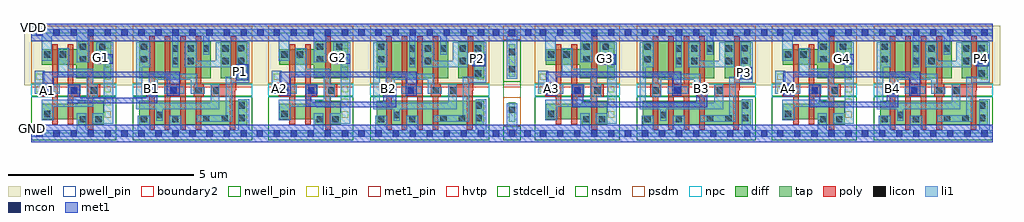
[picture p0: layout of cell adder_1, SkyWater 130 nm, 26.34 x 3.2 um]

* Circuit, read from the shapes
.subckt adder_1 A1 A2 A3 A4 B1 B2 B3 B4 G1 G2 G3 G4 GND P1 P2 P3 P4 VDD
XM1 n1 A1 n2 GND sky130_fd_pr__nfet_01v8 w=0.42 l=0.15
XM2 GND B1 n1 GND sky130_fd_pr__nfet_01v8 w=0.42 l=0.15
XM3 G1 n2 GND GND sky130_fd_pr__nfet_01v8 w=0.65 l=0.15
XM4 n3 B1 GND GND sky130_fd_pr__nfet_01v8 w=0.65 l=0.15
XM5 GND A1 n3 GND sky130_fd_pr__nfet_01v8 w=0.65 l=0.15
XM6 n4 A1 GND GND sky130_fd_pr__nfet_01v8 w=0.65 l=0.15
XM7 P1 B1 n4 GND sky130_fd_pr__nfet_01v8 w=0.65 l=0.15
XM8 GND n3 P1 GND sky130_fd_pr__nfet_01v8 w=0.65 l=0.15
XM9 n5 A2 n6 GND sky130_fd_pr__nfet_01v8 w=0.42 l=0.15
XM10 GND B2 n5 GND sky130_fd_pr__nfet_01v8 w=0.42 l=0.15
XM11 G2 n6 GND GND sky130_fd_pr__nfet_01v8 w=0.65 l=0.15
XM12 n7 B2 GND GND sky130_fd_pr__nfet_01v8 w=0.65 l=0.15
XM13 GND A2 n7 GND sky130_fd_pr__nfet_01v8 w=0.65 l=0.15
XM14 n8 A2 GND GND sky130_fd_pr__nfet_01v8 w=0.65 l=0.15
XM15 P2 B2 n8 GND sky130_fd_pr__nfet_01v8 w=0.65 l=0.15
XM16 GND n7 P2 GND sky130_fd_pr__nfet_01v8 w=0.65 l=0.15
XM17 n9 A3 n10 GND sky130_fd_pr__nfet_01v8 w=0.42 l=0.15
XM18 GND B3 n9 GND sky130_fd_pr__nfet_01v8 w=0.42 l=0.15
XM19 G3 n10 GND GND sky130_fd_pr__nfet_01v8 w=0.65 l=0.15
XM20 n11 B3 GND GND sky130_fd_pr__nfet_01v8 w=0.65 l=0.15
XM21 GND A3 n11 GND sky130_fd_pr__nfet_01v8 w=0.65 l=0.15
XM22 n12 A3 GND GND sky130_fd_pr__nfet_01v8 w=0.65 l=0.15
XM23 P3 B3 n12 GND sky130_fd_pr__nfet_01v8 w=0.65 l=0.15
XM24 GND n11 P3 GND sky130_fd_pr__nfet_01v8 w=0.65 l=0.15
XM25 n13 A4 n14 GND sky130_fd_pr__nfet_01v8 w=0.42 l=0.15
XM26 GND B4 n13 GND sky130_fd_pr__nfet_01v8 w=0.42 l=0.15
XM27 G4 n14 GND GND sky130_fd_pr__nfet_01v8 w=0.65 l=0.15
XM28 n15 B4 GND GND sky130_fd_pr__nfet_01v8 w=0.65 l=0.15
XM29 GND A4 n15 GND sky130_fd_pr__nfet_01v8 w=0.65 l=0.15
XM30 n16 A4 GND GND sky130_fd_pr__nfet_01v8 w=0.65 l=0.15
XM31 P4 B4 n16 GND sky130_fd_pr__nfet_01v8 w=0.65 l=0.15
XM32 GND n15 P4 GND sky130_fd_pr__nfet_01v8 w=0.65 l=0.15
XM33 n2 A1 VDD VDD sky130_fd_pr__pfet_01v8_hvt w=0.42 l=0.15
XM34 VDD B1 n2 VDD sky130_fd_pr__pfet_01v8_hvt w=0.42 l=0.15
XM35 G1 n2 VDD VDD sky130_fd_pr__pfet_01v8_hvt w=1 l=0.15
XM36 n17 B1 n3 VDD sky130_fd_pr__pfet_01v8_hvt w=1 l=0.15
XM37 VDD A1 n17 VDD sky130_fd_pr__pfet_01v8_hvt w=1 l=0.15
XM38 n18 A1 VDD VDD sky130_fd_pr__pfet_01v8_hvt w=1 l=0.15
XM39 VDD B1 n18 VDD sky130_fd_pr__pfet_01v8_hvt w=1 l=0.15
XM40 P1 n3 n18 VDD sky130_fd_pr__pfet_01v8_hvt w=1 l=0.15
XM41 n6 A2 VDD VDD sky130_fd_pr__pfet_01v8_hvt w=0.42 l=0.15
XM42 VDD B2 n6 VDD sky130_fd_pr__pfet_01v8_hvt w=0.42 l=0.15
XM43 G2 n6 VDD VDD sky130_fd_pr__pfet_01v8_hvt w=1 l=0.15
XM44 n19 B2 n7 VDD sky130_fd_pr__pfet_01v8_hvt w=1 l=0.15
XM45 VDD A2 n19 VDD sky130_fd_pr__pfet_01v8_hvt w=1 l=0.15
XM46 n20 A2 VDD VDD sky130_fd_pr__pfet_01v8_hvt w=1 l=0.15
XM47 VDD B2 n20 VDD sky130_fd_pr__pfet_01v8_hvt w=1 l=0.15
XM48 P2 n7 n20 VDD sky130_fd_pr__pfet_01v8_hvt w=1 l=0.15
XM49 n10 A3 VDD VDD sky130_fd_pr__pfet_01v8_hvt w=0.42 l=0.15
XM50 VDD B3 n10 VDD sky130_fd_pr__pfet_01v8_hvt w=0.42 l=0.15
XM51 G3 n10 VDD VDD sky130_fd_pr__pfet_01v8_hvt w=1 l=0.15
XM52 n21 B3 n11 VDD sky130_fd_pr__pfet_01v8_hvt w=1 l=0.15
XM53 VDD A3 n21 VDD sky130_fd_pr__pfet_01v8_hvt w=1 l=0.15
XM54 n22 A3 VDD VDD sky130_fd_pr__pfet_01v8_hvt w=1 l=0.15
XM55 VDD B3 n22 VDD sky130_fd_pr__pfet_01v8_hvt w=1 l=0.15
XM56 P3 n11 n22 VDD sky130_fd_pr__pfet_01v8_hvt w=1 l=0.15
XM57 n14 A4 VDD VDD sky130_fd_pr__pfet_01v8_hvt w=0.42 l=0.15
XM58 VDD B4 n14 VDD sky130_fd_pr__pfet_01v8_hvt w=0.42 l=0.15
XM59 G4 n14 VDD VDD sky130_fd_pr__pfet_01v8_hvt w=1 l=0.15
XM60 n23 B4 n15 VDD sky130_fd_pr__pfet_01v8_hvt w=1 l=0.15
XM61 VDD A4 n23 VDD sky130_fd_pr__pfet_01v8_hvt w=1 l=0.15
XM62 n24 A4 VDD VDD sky130_fd_pr__pfet_01v8_hvt w=1 l=0.15
XM63 VDD B4 n24 VDD sky130_fd_pr__pfet_01v8_hvt w=1 l=0.15
XM64 P4 n15 n24 VDD sky130_fd_pr__pfet_01v8_hvt w=1 l=0.15
.ends

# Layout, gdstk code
import gdstk
lib = gdstk.Library(unit=1e-6, precision=1e-09)
def R(c, l, rs):  # rectangles x0, y0, x1, y1
    for r in rs: c.add(gdstk.rectangle(r[:2], r[2:], *l))
def A(c, l, x, y, w, h, nx, ny, dx, dy):  # array of equal rectangles
    R(c, l, [(x+i*dx, y+j*dy, x+i*dx+w, y+j*dy+h) for i in range(nx) for j in range(ny)])
def P(c, l, *ps):  # polygons
    for p in ps: c.add(gdstk.Polygon(p, *l))
nwell_pin = (64, 16)
nwell = (64, 20)
diff = (65, 20)
tap = (65, 44)
poly = (66, 20)
licon = (66, 44)
li1_pin = (67, 16)
li1 = (67, 20)
mcon = (67, 44)
met1_pin = (68, 16)
met1 = (68, 20)
hvtp = (78, 44)
stdcell_id = (81, 4)
nsdm = (93, 44)
psdm = (94, 20)
npc = (95, 20)
pwell_pin = (122, 16)
boundary2 = (236, 0)

sky130_fd_sc_hd__xor2_1 = lib.new_cell('sky130_fd_sc_hd__xor2_1')
R(sky130_fd_sc_hd__xor2_1, nwell_pin, [(0.145,2.635,0.315,2.805)])
R(sky130_fd_sc_hd__xor2_1, nwell, [(-0.19,1.305,3.41,2.91)])
R(sky130_fd_sc_hd__xor2_1, diff, [(0.175,0.235,3.085,0.885), (0.175,1.485,2.105,2.485), (2.375,1.485,3.085,2.485)])
P(sky130_fd_sc_hd__xor2_1, poly, [(0.645,1.325),(0.585,1.325),(0.585,2.615),(0.435,2.615),(0.435,1.325),(0.375,1.325),(0.375,0.995),(0.435,0.995),(0.435,0.105),(0.585,0.105),(0.585,0.995),(0.645,0.995)],
  [(1.425,2.615),(1.275,2.615),(1.275,1.325),(1.005,1.325),(1.005,2.615),(0.855,2.615),(0.855,0.105),(1.005,0.105),(1.005,0.995),(1.275,0.995),(1.275,0.105),(1.425,0.105)],
  [(1.905,1.325),(1.845,1.325),(1.845,2.615),(1.695,2.615),(1.695,1.325),(1.635,1.325),(1.635,0.995),(1.695,0.995),(1.695,0.105),(1.845,0.105),(1.845,0.995),(1.905,0.995)],
  [(2.765,1.16),(2.785,1.16),(2.785,2.615),(2.635,2.615),(2.635,1.325),(2.115,1.325),(2.115,0.995),(2.615,0.995),(2.615,0.105),(2.765,0.105)])
A(sky130_fd_sc_hd__xor2_1, licon, 2.835, 1.535, 0.17, 0.17, 1, 3, 0, 0.34)
A(sky130_fd_sc_hd__xor2_1, licon, 1.055, 2.205, 0.17, 0.17, 3, 1, 0.42, 0)
R(sky130_fd_sc_hd__xor2_1, licon, [(0.215,0.305,0.385,0.475), (1.055,0.305,1.225,0.475), (1.895,0.315,2.065,0.485), (2.395,0.315,2.565,0.485), (2.845,0.33,3.015,0.5), (0.635,0.415,0.805,0.585), (2.845,0.67,3.015,0.84), (0.425,1.075,0.595,1.245), (1.01,1.075,1.18,1.245), (1.685,1.075,1.855,1.245), (2.165,1.075,2.335,1.245), (1.055,1.865,1.225,2.035), (1.475,1.865,1.645,2.035), (2.415,1.865,2.585,2.035), (0.215,1.915,0.385,2.085), (2.415,2.205,2.585,2.375), (0.215,2.255,0.385,2.425)])
R(sky130_fd_sc_hd__xor2_1, li1_pin, [(1.065,1.105,1.235,1.275), (0.605,1.445,0.775,1.615), (2.905,1.445,3.075,1.615)])
R(sky130_fd_sc_hd__xor2_1, li1, [(0.84,1.075,1.39,1.275)])
P(sky130_fd_sc_hd__xor2_1, li1, [(1.935,1.245),(1.73,1.245),(1.73,1.615),(0.425,1.615),(0.425,0.995),(0.67,0.995),(0.67,1.445),(1.56,1.445),(1.56,1.075),(1.935,1.075)],
  [(2.335,1.325),(2.105,1.325),(2.105,0.825),(0.255,0.825),(0.255,1.785),(0.465,1.785),(0.465,2.465),(0.085,2.465),(0.085,0.655),(0.635,0.655),(0.635,0.335),(0.805,0.335),(0.805,0.655),(2.335,0.655)],
  [(2.635,2.465),(2.235,2.465),(2.235,1.955),(1.725,1.955),(1.725,2.465),(1.395,2.465),(1.395,1.785),(2.635,1.785)],
  [(3.135,2.465),(2.815,2.465),(2.815,1.535),(2.505,1.535),(2.505,0.485),(1.72,0.485),(1.72,0.315),(2.675,0.315),(2.675,1.365),(3.135,1.365)],
  [(3.22,2.805),(0,2.805),(0,2.635),(1.055,2.635),(1.055,1.785),(1.225,1.785),(1.225,2.635),(1.895,2.635),(1.895,2.125),(2.065,2.125),(2.065,2.635),(3.22,2.635)],
  [(3.22,0.085),(3.135,0.085),(3.135,0.92),(2.845,0.92),(2.845,0.085),(1.305,0.085),(1.305,0.475),(0.975,0.475),(0.975,0.085),(0.465,0.085),(0.465,0.475),(0.135,0.475),(0.135,0.085),(0,0.085),(0,-0.085),(3.22,-0.085)])
A(sky130_fd_sc_hd__xor2_1, mcon, 0.145, -0.085, 0.17, 0.17, 7, 2, 0.46, 2.72)
R(sky130_fd_sc_hd__xor2_1, met1_pin, [(0.145,-0.085,0.315,0.085), (0.145,2.635,0.315,2.805)])
R(sky130_fd_sc_hd__xor2_1, hvtp, [(0,1.25,3.22,2.72)])
R(sky130_fd_sc_hd__xor2_1, stdcell_id, [(0,0,3.22,2.72)])
R(sky130_fd_sc_hd__xor2_1, nsdm, [(0,-0.19,3.22,1.015)])
R(sky130_fd_sc_hd__xor2_1, psdm, [(0,1.355,3.22,2.91)])
R(sky130_fd_sc_hd__xor2_1, npc, [(0,0.975,3.22,1.345)])
R(sky130_fd_sc_hd__xor2_1, pwell_pin, [(0.145,-0.085,0.315,0.085)])
R(sky130_fd_sc_hd__xor2_1, boundary2, [(0,0,3.22,2.72)])
sky130_fd_sc_hd__xor2_1.add(gdstk.FlexPath([(0,0),(3.22,0)], 0.48, ends="flush", simple_path=True, layer=68, datatype=20))  # met1
sky130_fd_sc_hd__xor2_1.add(gdstk.FlexPath([(0,2.72),(3.22,2.72)], 0.48, ends="flush", simple_path=True, layer=68, datatype=20))  # met1
sky130_fd_sc_hd__xor2_1.add(gdstk.Label('B', (0.69,1.53), layer=67, texttype=5))
sky130_fd_sc_hd__xor2_1.add(gdstk.Label('X', (2.99,1.53), layer=67, texttype=5))
sky130_fd_sc_hd__xor2_1.add(gdstk.Label('A', (1.15,1.19), layer=67, texttype=5))
sky130_fd_sc_hd__xor2_1.add(gdstk.Label('VNB', (0.23,0), layer=64, texttype=59))
sky130_fd_sc_hd__xor2_1.add(gdstk.Label('VPB', (0.23,2.72), layer=64, texttype=5))
sky130_fd_sc_hd__xor2_1.add(gdstk.Label('VPWR', (0.23,2.72), layer=68, texttype=5))
sky130_fd_sc_hd__xor2_1.add(gdstk.Label('VGND', (0.23,0), layer=68, texttype=5))
sky130_fd_sc_hd__xor2_1.add(gdstk.Label('xor2_1', (0,0), layer=83, texttype=44))

sky130_fd_sc_hd__tapvpwr = lib.new_cell('sky130_fd_sc_hd__tapvpwrvgnd_1')
R(sky130_fd_sc_hd__tapvpwr, nwell, [(-0.19,1.305,0.65,2.91)])
R(sky130_fd_sc_hd__tapvpwr, tap, [(0.145,0.32,0.315,0.845), (0.145,1.525,0.315,2.4)])
R(sky130_fd_sc_hd__tapvpwr, licon, [(0.145,0.555,0.315,0.725), (0.145,1.645,0.315,1.815), (0.145,2.11,0.315,2.28)])
R(sky130_fd_sc_hd__tapvpwr, li1, [(0,-0.085,0.46,0.085), (0.085,0,0.375,0.81), (0.085,1.47,0.375,2.72), (0,2.635,0.46,2.805)])
R(sky130_fd_sc_hd__tapvpwr, mcon, [(0.145,-0.085,0.315,0.085), (0.145,2.635,0.315,2.805)])
R(sky130_fd_sc_hd__tapvpwr, met1_pin, [(0.105,-0.09,0.36,0.1), (0.11,2.62,0.375,2.765)])
R(sky130_fd_sc_hd__tapvpwr, met1, [(0,-0.24,0.46,0.24), (0,2.48,0.46,2.96)])
R(sky130_fd_sc_hd__tapvpwr, hvtp, [(0,1.25,0.46,2.72)])
R(sky130_fd_sc_hd__tapvpwr, stdcell_id, [(0,0,0.46,2.72)])
R(sky130_fd_sc_hd__tapvpwr, nsdm, [(0,-0.19,0.46,0.19), (0,1.395,0.46,2.53)])
R(sky130_fd_sc_hd__tapvpwr, psdm, [(0,0.19,0.46,0.975), (0,2.53,0.46,2.91)])
sky130_fd_sc_hd__tapvpwr.add(gdstk.Label('VPWR', (0.23,2.72), layer=68, texttype=5))
sky130_fd_sc_hd__tapvpwr.add(gdstk.Label('VGND', (0.23,0), layer=68, texttype=5))
sky130_fd_sc_hd__tapvpwr.add(gdstk.Label('tapvpwrvgnd_1', (0,0), layer=83, texttype=44))

sky130_fd_sc_hd__and2_1 = lib.new_cell('sky130_fd_sc_hd__and2_1')
R(sky130_fd_sc_hd__and2_1, nwell_pin, [(0.145,2.635,0.315,2.805)])
R(sky130_fd_sc_hd__and2_1, nwell, [(-0.19,1.305,2.49,2.91)])
P(sky130_fd_sc_hd__and2_1, diff, [(1.965,0.885),(1.275,0.885),(1.275,0.795),(0.295,0.795),(0.295,0.375),(1.275,0.375),(1.275,0.235),(1.965,0.235)],
  [(2.16,2.485),(1.275,2.485),(1.275,2.275),(0.295,2.275),(0.295,1.855),(1.225,1.855),(1.225,1.485),(2.16,1.485)])
P(sky130_fd_sc_hd__and2_1, poly, [(1.865,1.325),(1.685,1.325),(1.685,2.615),(1.535,2.615),(1.535,0.105),(1.685,0.105),(1.685,0.995),(1.865,0.995)],
  [(0.725,2.405),(0.575,2.405),(0.575,1.325),(0.29,1.325),(0.29,0.995),(0.575,0.995),(0.575,0.245),(0.725,0.245)],
  [(1.325,1.325),(1.145,1.325),(1.145,2.405),(0.995,2.405),(0.995,0.245),(1.145,0.245),(1.145,0.995),(1.325,0.995)])
R(sky130_fd_sc_hd__and2_1, licon, [(1.315,0.295,1.485,0.465), (1.735,0.295,1.905,0.465), (0.355,0.435,0.525,0.605), (0.37,1.075,0.54,1.245), (1.075,1.075,1.245,1.245), (1.615,1.075,1.785,1.245), (1.315,1.915,1.485,2.085), (1.835,1.915,2.005,2.085), (0.355,2.045,0.525,2.215), (0.775,2.045,0.945,2.215), (1.315,2.255,1.485,2.425), (1.835,2.255,2.005,2.425)])
A(sky130_fd_sc_hd__and2_1, li1_pin, 1.985, 0.425, 0.17, 0.17, 1, 6, 0, 0.34)
A(sky130_fd_sc_hd__and2_1, li1_pin, 0.145, 1.105, 0.17, 0.17, 3, 1, 0.46, 0)
R(sky130_fd_sc_hd__and2_1, li1_pin, [(0.145,1.445,0.315,1.615)])
R(sky130_fd_sc_hd__and2_1, li1, [(0.995,1.075,1.335,1.325)])
P(sky130_fd_sc_hd__and2_1, li1, [(2.215,2.465),(1.755,2.465),(1.755,1.915),(1.965,1.915),(1.965,0.545),(1.655,0.545),(1.655,0.255),(2.215,0.255)],
  [(2.3,2.805),(0,2.805),(0,2.635),(0.285,2.635),(0.285,1.965),(0.565,1.965),(0.565,2.635),(1.235,2.635),(1.235,1.915),(1.565,1.915),(1.565,2.635),(2.3,2.635)],
  [(0.1,1.075),(0.1,1.685),(0.365,1.685),(0.365,1.325),(0.775,1.325),(0.775,1.075)],
  [(2.3,0.085),(1.485,0.085),(1.485,0.545),(1.235,0.545),(1.235,0.085),(0,0.085),(0,-0.085),(2.3,-0.085)],
  [(1.795,1.325),(1.675,1.325),(1.675,1.745),(1.035,1.745),(1.035,2.295),(0.735,2.295),(0.735,1.575),(1.505,1.575),(1.505,0.905),(0.285,0.905),(0.285,0.355),(0.615,0.355),(0.615,0.715),(1.675,0.715),(1.675,0.995),(1.795,0.995)])
A(sky130_fd_sc_hd__and2_1, mcon, 0.145, -0.085, 0.17, 0.17, 5, 2, 0.46, 2.72)
R(sky130_fd_sc_hd__and2_1, met1_pin, [(0.145,-0.085,0.315,0.085), (0.145,2.635,0.315,2.805)])
R(sky130_fd_sc_hd__and2_1, hvtp, [(0,1.25,2.3,2.72)])
R(sky130_fd_sc_hd__and2_1, stdcell_id, [(0,0,2.3,2.72)])
R(sky130_fd_sc_hd__and2_1, nsdm, [(0,-0.19,2.3,1.015)])
R(sky130_fd_sc_hd__and2_1, psdm, [(0,1.355,2.3,2.91)])
R(sky130_fd_sc_hd__and2_1, npc, [(0,0.975,2.3,1.345)])
R(sky130_fd_sc_hd__and2_1, pwell_pin, [(0.145,-0.085,0.315,0.085)])
R(sky130_fd_sc_hd__and2_1, boundary2, [(0,0,2.3,2.72)])
sky130_fd_sc_hd__and2_1.add(gdstk.FlexPath([(0,0),(2.3,0)], 0.48, ends="flush", simple_path=True, layer=68, datatype=20))  # met1
sky130_fd_sc_hd__and2_1.add(gdstk.FlexPath([(0,2.72),(2.3,2.72)], 0.48, ends="flush", simple_path=True, layer=68, datatype=20))  # met1
sky130_fd_sc_hd__and2_1.add(gdstk.Label('VPWR', (0.23,2.72), layer=68, texttype=5))
sky130_fd_sc_hd__and2_1.add(gdstk.Label('VGND', (0.23,0), layer=68, texttype=5))
sky130_fd_sc_hd__and2_1.add(gdstk.Label('X', (2.07,0.85), layer=67, texttype=5))
sky130_fd_sc_hd__and2_1.add(gdstk.Label('X', (2.07,0.51), layer=67, texttype=5))
sky130_fd_sc_hd__and2_1.add(gdstk.Label('X', (2.07,1.19), layer=67, texttype=5))
sky130_fd_sc_hd__and2_1.add(gdstk.Label('X', (2.07,1.53), layer=67, texttype=5))
sky130_fd_sc_hd__and2_1.add(gdstk.Label('X', (2.07,1.87), layer=67, texttype=5))
sky130_fd_sc_hd__and2_1.add(gdstk.Label('X', (2.07,2.21), layer=67, texttype=5))
sky130_fd_sc_hd__and2_1.add(gdstk.Label('B', (1.15,1.19), layer=67, texttype=5))
sky130_fd_sc_hd__and2_1.add(gdstk.Label('A', (0.69,1.19), layer=67, texttype=5))
sky130_fd_sc_hd__and2_1.add(gdstk.Label('A', (0.23,1.19), layer=67, texttype=5))
sky130_fd_sc_hd__and2_1.add(gdstk.Label('VPB', (0.23,2.72), layer=64, texttype=5))
sky130_fd_sc_hd__and2_1.add(gdstk.Label('VNB', (0.23,0), layer=64, texttype=59))
sky130_fd_sc_hd__and2_1.add(gdstk.Label('and2_1', (0,0), layer=83, texttype=44))

adder_1 = lib.new_cell('adder_1')
R(adder_1, nwell, [(2.165,1.295,2.365,2.9), (5.92,1.295,6.02,2.9), (6.035,1.295,6.235,2.895), (8.62,1.295,8.77,2.9), (15.835,1.295,15.955,2.9), (19.5,1.295,19.605,2.9), (22.23,1.295,22.37,2.9)])
R(adder_1, li1, [(1.985,-0.1,2.575,0.075), (5.735,-0.095,6.23,0.075), (8.43,-0.095,8.975,0.075), (12.145,-0.095,12.58,0.075), (12.96,-0.095,13.395,0.075), (15.62,-0.095,16.145,0.075), (19.32,-0.095,19.8,0.075), (22.025,-0.095,22.565,0.075), (0.16,1.065,0.33,1.235), (0.865,1.065,1.035,1.235), (2.965,1.065,3.135,1.235), (3.55,1.065,3.72,1.235), (6.56,1.065,6.73,1.235), (7.265,1.065,7.435,1.235), (9.365,1.065,9.535,1.235), (9.95,1.065,10.12,1.235), (13.75,1.065,13.92,1.235), (14.455,1.065,14.625,1.235), (17.14,1.065,17.31,1.235), (17.815,1.065,17.985,1.235), (20.15,1.065,20.32,1.235), (20.855,1.065,21.025,1.235), (22.955,1.065,23.125,1.235), (23.54,1.065,23.71,1.235), (5.375,1.525,5.545,1.695), (18.965,1.525,19.135,1.695), (11.775,1.865,11.945,2.035), (25.365,1.865,25.535,2.035), (1.625,1.905,1.795,2.075), (8.025,1.905,8.195,2.075), (15.215,1.905,15.385,2.075), (21.615,1.905,21.785,2.075), (1.7,2.1,1.875,2.27), (0.395,2.625,0.565,2.795), (2.06,2.625,2.565,2.795), (5.72,2.625,6.225,2.795), (8.465,2.625,8.965,2.795), (12.14,2.625,12.56,2.795), (12.96,2.625,13.39,2.795), (15.66,2.625,16.155,2.795), (19.31,2.625,19.81,2.795), (22.055,2.625,22.56,2.795)])
R(adder_1, mcon, [(2.225,-0.1,2.395,0.07), (5.875,-0.095,6.045,0.075), (8.625,-0.095,8.795,0.075), (12.25,-0.095,12.42,0.075), (13.1,-0.095,13.27,0.075), (15.815,-0.095,15.985,0.075), (19.49,-0.095,19.66,0.075), (22.215,-0.095,22.385,0.075), (0.16,1.065,0.33,1.235), (0.865,1.065,1.035,1.235), (2.965,1.065,3.135,1.235), (3.55,1.065,3.72,1.235), (6.56,1.065,6.73,1.235), (7.265,1.065,7.435,1.235), (9.365,1.065,9.535,1.235), (9.95,1.065,10.12,1.235), (13.75,1.065,13.92,1.235), (14.455,1.065,14.625,1.235), (17.14,1.065,17.31,1.235), (17.815,1.065,17.985,1.235), (20.15,1.065,20.32,1.235), (20.855,1.065,21.025,1.235), (22.955,1.065,23.125,1.235), (23.54,1.065,23.71,1.235), (5.375,1.525,5.545,1.695), (18.965,1.525,19.135,1.695), (11.775,1.865,11.945,2.035), (25.365,1.865,25.535,2.035), (1.625,1.905,1.795,2.075), (8.025,1.905,8.195,2.075), (15.215,1.905,15.385,2.075), (21.615,1.905,21.785,2.075), (0.395,2.625,0.565,2.795), (2.225,2.625,2.395,2.795), (5.9,2.625,6.07,2.795), (8.625,2.625,8.795,2.795), (12.25,2.625,12.42,2.795), (13.125,2.625,13.295,2.795), (15.815,2.625,15.985,2.795), (19.49,2.625,19.66,2.795), (22.215,2.625,22.385,2.795)])
R(adder_1, met1, [(2.025,-0.25,2.575,0.225), (5.72,-0.25,6.23,0.23), (8.45,-0.25,8.98,-0.095), (12.115,-0.25,12.565,0.23), (12.995,-0.25,13.42,0.23), (15.655,-0.25,16.155,0.23), (19.32,-0.25,19.81,0.23), (22.05,-0.25,22.565,0.23), (8.43,-0.095,8.98,0.075), (8.45,0.075,8.98,0.23), (7.5,0.7,9.65,0.705), (14.39,0.7,18.04,0.85), (20.79,0.7,23.19,0.85), (7.2,0.705,9.65,0.85), (0.785,0.8,3.2,0.95), (7.2,0.85,7.35,1), (9.3,0.85,9.65,1.3), (14.39,0.85,14.69,1.3), (17.74,0.85,18.04,1.3), (20.79,0.85,21.09,1.3), (22.89,0.85,23.19,1.295), (0.785,0.95,1.1,1.05), (2.895,0.95,3.2,1.3), (20.09,0.995,20.39,1.5), (0.1,1,0.4,1.5), (3.45,1,3.8,1.505), (6.5,1,6.8,1.5), (7.2,1,7.5,1.3), (9.9,1,10.2,1.5), (13.69,1,13.99,1.5), (17.09,1,17.34,1.5), (23.49,1,23.79,1.5), (0.8,1.05,1.1,1.3), (22.94,1.295,23.19,1.3), (5.33,1.43,5.65,1.85), (18.89,1.45,19.24,1.775), (0.1,1.5,3.17,1.505), (6.5,1.5,10.2,1.65), (13.69,1.5,17.34,1.65), (20.09,1.5,23.79,1.65), (0.1,1.505,3.8,1.65), (11.7,1.8,12.05,2.125), (25.29,1.8,25.64,2.125), (15.115,1.845,15.565,2.125), (21.54,1.85,21.99,2.125), (1.55,1.875,2,2.125), (7.95,1.875,8.4,2.125), (2.065,2.47,2.555,2.95), (5.725,2.47,6.21,2.95), (8.465,2.47,8.955,2.95), (12.125,2.47,12.565,2.95), (12.975,2.47,13.42,2.95), (15.65,2.47,16.155,2.95), (19.32,2.47,19.81,2.95), (22.055,2.47,22.56,2.95), (0.395,2.625,0.565,2.795)])
adder_1.add(gdstk.Reference(sky130_fd_sc_hd__xor2_1, (22.53,-0.01)))
adder_1.add(gdstk.Reference(sky130_fd_sc_hd__xor2_1, (16.13,-0.01)))
adder_1.add(gdstk.Reference(sky130_fd_sc_hd__xor2_1, (8.94,-0.01)))
adder_1.add(gdstk.Reference(sky130_fd_sc_hd__xor2_1, (2.54,-0.01)))
adder_1.add(gdstk.Reference(sky130_fd_sc_hd__tapvpwr, (12.54,-0.01)))
adder_1.add(gdstk.Reference(sky130_fd_sc_hd__and2_1, (19.78,-0.01)))
adder_1.add(gdstk.Reference(sky130_fd_sc_hd__and2_1, (13.38,-0.01)))
adder_1.add(gdstk.Reference(sky130_fd_sc_hd__and2_1, (6.19,-0.01)))
adder_1.add(gdstk.Reference(sky130_fd_sc_hd__and2_1, (-0.21,-0.01)))
adder_1.add(gdstk.Label('A1', (0.225,1.15), layer=68, texttype=5))
adder_1.add(gdstk.Label('B1', (3.05,1.2), layer=68, texttype=5))
adder_1.add(gdstk.Label('A2', (6.5,1.2), layer=68, texttype=5))
adder_1.add(gdstk.Label('B2', (9.45,1.21), layer=68, texttype=5))
adder_1.add(gdstk.Label('A3', (13.84,1.2), layer=68, texttype=5))
adder_1.add(gdstk.Label('B3', (17.89,1.2), layer=68, texttype=5))
adder_1.add(gdstk.Label('A4', (20.23,1.2), layer=68, texttype=5))
adder_1.add(gdstk.Label('B4', (23.05,1.19), layer=68, texttype=5))
adder_1.add(gdstk.Label('G1', (1.7,2.025), layer=68, texttype=5))
adder_1.add(gdstk.Label('P1', (5.45,1.65), layer=68, texttype=5))
adder_1.add(gdstk.Label('G2', (8.1,2.025), layer=68, texttype=5))
adder_1.add(gdstk.Label('P2', (11.85,2), layer=68, texttype=5))
adder_1.add(gdstk.Label('G3', (15.29,2), layer=68, texttype=5))
adder_1.add(gdstk.Label('P3', (19.04,1.63), layer=68, texttype=5))
adder_1.add(gdstk.Label('G4', (21.68,2), layer=68, texttype=5))
adder_1.add(gdstk.Label('P4', (25.44,2), layer=68, texttype=5))
adder_1.add(gdstk.Label('VDD', (-0.15,2.85), layer=68, texttype=5))
adder_1.add(gdstk.Label('GND', (-0.175,0.125), layer=68, texttype=5))

lib.write_gds('adder_1.gds')
